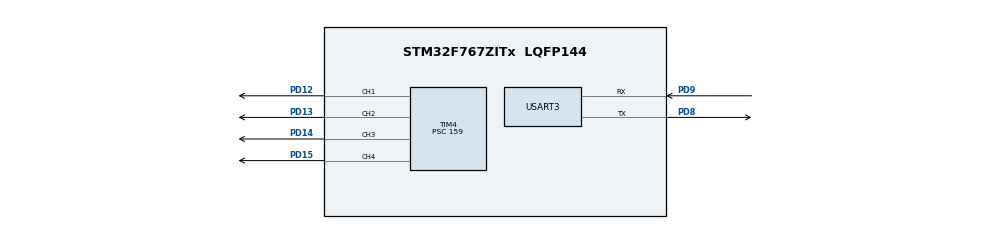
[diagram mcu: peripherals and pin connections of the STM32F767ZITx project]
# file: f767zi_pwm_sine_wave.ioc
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CORTEX_M7.default_mode_Activation=1
Mcu.Family=STM32F7
Mcu.Name=STM32F767ZITx
Mcu.Package=LQFP144
Mcu.UserConstants=SAMPLE_RANGE,1000
NVIC.PriorityGroup=NVIC_PRIORITYGROUP_4
NVIC.TIM4_IRQn=true\:0\:0\:false\:false\:true\:true\:true\:true
PA13.Mode=Serial_Wire
PA13.Signal=SYS_JTMS-SWDIO
PA14.Mode=Serial_Wire
PA14.Signal=SYS_JTCK-SWCLK
PD12.Signal=S_TIM4_CH1
PD13.Signal=S_TIM4_CH2
PD14.Signal=S_TIM4_CH3
PD15.Signal=S_TIM4_CH4
PD8.Mode=Asynchronous
PD8.Signal=USART3_TX
PD9.Mode=Asynchronous
PD9.Signal=USART3_RX
PH0/OSC_IN.Mode=HSE-External-Oscillator
PH0/OSC_IN.Signal=RCC_OSC_IN
PH1/OSC_OUT.Mode=HSE-External-Oscillator
PH1/OSC_OUT.Signal=RCC_OSC_OUT
ProjectManager.HeapSize=0x200
ProjectManager.StackSize=0x400
ProjectManager.TargetToolchain=STM32CubeIDE
RCC.HSE_VALUE=25000000
RCC.HSI_VALUE=16000000
RCC.LSE_VALUE=32768
RCC.USBFreq_Value=96000000
RCC.VCOOutputFreq_Value=192000000
SH.S_TIM4_CH1.0=TIM4_CH1,PWM Generation1 CH1
SH.S_TIM4_CH2.0=TIM4_CH2,PWM Generation2 CH2
SH.S_TIM4_CH3.0=TIM4_CH3,PWM Generation3 CH3
SH.S_TIM4_CH4.0=TIM4_CH4,PWM Generation4 CH4
TIM4.Channel-PWM\ Generation1\ CH1=TIM_CHANNEL_1
TIM4.Channel-PWM\ Generation2\ CH2=TIM_CHANNEL_2
TIM4.Channel-PWM\ Generation3\ CH3=TIM_CHANNEL_3
TIM4.Channel-PWM\ Generation4\ CH4=TIM_CHANNEL_4
TIM4.Period=SAMPLE_RANGE-1
TIM4.Prescaler=159
USART3.VirtualMode-Asynchronous=VM_ASYNC
VP_TIM4_VS_ClockSourceINT.Mode=Internal
board=custom

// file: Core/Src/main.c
/* USER CODE BEGIN Header */
/**
 ******************************************************************************
 * @file           : main.c
 * @brief          : Main program body
 ******************************************************************************
 * @attention
 *
 * Copyright (c) 2025 STMicroelectronics.
 * All rights reserved.
 *
 * This software is licensed under terms that can be found in the LICENSE file
 * in the root directory of this software component.
 * If no LICENSE file comes with this software, it is provided AS-IS.
 *
 ******************************************************************************
 */
/* USER CODE END Header */
#include "main.h"

/* USER CODE BEGIN Includes */
#include <stdio.h>
#include <stdbool.h>
#include <math.h>
/* USER CODE END Includes */

/* USER CODE BEGIN PD */
// define some macros
#define SAMPLE_DELAY 10 //ms
#define SAMPLE_FREQ (1000/SAMPLE_DELAY) //hz
#define SAMPLE_MID (SAMPLE_RANGE/2)

/* USER CODE END PD */

TIM_HandleTypeDef htim4;

UART_HandleTypeDef huart3;

/* USER CODE BEGIN PV */
uint32_t callback_counter = 0;
uint32_t led_channels[] = {
TIM_CHANNEL_1,
TIM_CHANNEL_2,
TIM_CHANNEL_3,
TIM_CHANNEL_4 };

float angles[] = { 0, 0, 0, 0 };

float angle_changes[] = { 1 * (2 * M_PI / SAMPLE_FREQ), 2 * (2 * M_PI / SAMPLE_FREQ), 0.5 * (2 * M_PI / SAMPLE_FREQ), 0.25 * (2 * M_PI / SAMPLE_FREQ), };

/* USER CODE END PV */

void SystemClock_Config(void);
static void MPU_Config(void);
static void MX_GPIO_Init(void);
static void MX_USART3_UART_Init(void);
static void MX_TIM4_Init(void);

/* USER CODE BEGIN 0 */

/* redirect printf to uart3
 fd == file descriptor. 1 = stdout, 2 stderr
 ptr == pointer to the data being sent
 len == length of the data (in bytes)
 */
int _write(int fd, char *ptr, int len) {
	HAL_StatusTypeDef hstatus;

	if (fd == 1 || fd == 2) {
		hstatus = HAL_UART_Transmit(&huart3, (uint8_t*) ptr, len, HAL_MAX_DELAY);
		if (hstatus == HAL_OK)
			return len;
		else
			return -1;
	}
	return -1;
}

inline void HAL_TIM_PWM_PulseFinishedCallback(TIM_HandleTypeDef *htim) {
	if (htim->Instance == TIM4) {
		for (int i = 0; i < sizeof(angles) / sizeof(angles[0]); i++) {
			angles[i] += angle_changes[i];
			if (angles[i] >= 2 * M_PI) {
				angles[i] -= (2 * M_PI);
			}
			uint32_t pwm_value = SAMPLE_MID - (SAMPLE_MID * sin(angles[i]));
			__HAL_TIM_SET_COMPARE(&htim4, led_channels[i], pwm_value);
		}
		callback_counter++;
	}
}
/* USER CODE END 0 */

int main(void) {

	/* MPU Configuration--------------------------------------------------------*/
	MPU_Config();

	/* MCU Configuration--------------------------------------------------------*/

	/* Reset of all peripherals, Initializes the Flash interface and the Systick. */
	HAL_Init();

	/* Configure the system clock */
	SystemClock_Config();

	/* Initialize all configured peripherals */
	MX_GPIO_Init();
	MX_USART3_UART_Init();
	MX_TIM4_Init();
	/* USER CODE BEGIN 2 */
	HAL_TIM_PWM_Start_IT(&htim4, TIM_CHANNEL_1);
	HAL_TIM_PWM_Start(&htim4, TIM_CHANNEL_2);
	HAL_TIM_PWM_Start(&htim4, TIM_CHANNEL_3);
	HAL_TIM_PWM_Start(&htim4, TIM_CHANNEL_4);
	printf("Starting PWM sine wave code...\r\n");
	/* USER CODE END 2 */

	/* Infinite loop */
	/* USER CODE BEGIN WHILE */
	uint32_t now = 0, next_tick = 1000, loop_count = 0, next_sample = SAMPLE_DELAY;
	while (1) {
		now = uwTick;
		if (now >= next_tick) {
			printf("Tick %lu (loop = %lu). Callback counter %lu\r\n", now / 1000, loop_count, callback_counter);
			loop_count = 0;
			next_tick = now + 1000;
		}
		++loop_count;

//	  if (now>= next_change){
//		  __HAL_TIM_SET_COMPARE(&htim4,TIM_CHANNEL_1,pwm_value);
//		  __HAL_TIM_SET_COMPARE(&htim4,TIM_CHANNEL_2,1000-pwm_value);
//		  __HAL_TIM_SET_COMPARE(&htim4,TIM_CHANNEL_3,pwm_value);
//		  __HAL_TIM_SET_COMPARE(&htim4,TIM_CHANNEL_4,1000-pwm_value);
//		  pwm_value += pwm_change;
//		  if (pwm_value==0) pwm_change =1;
//		  if (pwm_value==1000) pwm_change =-1;
//		  next_change=now+1;
//	  }
	}
	/* USER CODE END WHILE */

}

void SystemClock_Config(void) {
	RCC_OscInitTypeDef RCC_OscInitStruct = { 0 };
	RCC_ClkInitTypeDef RCC_ClkInitStruct = { 0 };

	/** Configure the main internal regulator output voltage
	 */
	__HAL_RCC_PWR_CLK_ENABLE();
	__HAL_PWR_VOLTAGESCALING_CONFIG(PWR_REGULATOR_VOLTAGE_SCALE3);

	/** Initializes the RCC Oscillators according to the specified parameters
	 * in the RCC_OscInitTypeDef structure.
	 */
	RCC_OscInitStruct.OscillatorType = RCC_OSCILLATORTYPE_HSI;
	RCC_OscInitStruct.HSIState = RCC_HSI_ON;
	RCC_OscInitStruct.HSICalibrationValue = RCC_HSICALIBRATION_DEFAULT;
	RCC_OscInitStruct.PLL.PLLState = RCC_PLL_NONE;
	if (HAL_RCC_OscConfig(&RCC_OscInitStruct) != HAL_OK) {
		Error_Handler();
	}

	/** Initializes the CPU, AHB and APB buses clocks
	 */
	RCC_ClkInitStruct.ClockType = RCC_CLOCKTYPE_HCLK | RCC_CLOCKTYPE_SYSCLK | RCC_CLOCKTYPE_PCLK1 | RCC_CLOCKTYPE_PCLK2;
	RCC_ClkInitStruct.SYSCLKSource = RCC_SYSCLKSOURCE_HSI;
	RCC_ClkInitStruct.AHBCLKDivider = RCC_SYSCLK_DIV1;
	RCC_ClkInitStruct.APB1CLKDivider = RCC_HCLK_DIV1;
	RCC_ClkInitStruct.APB2CLKDivider = RCC_HCLK_DIV1;

	if (HAL_RCC_ClockConfig(&RCC_ClkInitStruct, FLASH_LATENCY_0) != HAL_OK) {
		Error_Handler();
	}
}

static void MX_TIM4_Init(void) {

	TIM_ClockConfigTypeDef sClockSourceConfig = { 0 };
	TIM_MasterConfigTypeDef sMasterConfig = { 0 };
	TIM_OC_InitTypeDef sConfigOC = { 0 };

	htim4.Instance = TIM4;
	htim4.Init.Prescaler = 159;
	htim4.Init.CounterMode = TIM_COUNTERMODE_UP;
	htim4.Init.Period = SAMPLE_RANGE - 1;
	htim4.Init.ClockDivision = TIM_CLOCKDIVISION_DIV1;
	htim4.Init.AutoReloadPreload = TIM_AUTORELOAD_PRELOAD_DISABLE;
	if (HAL_TIM_Base_Init(&htim4) != HAL_OK) {
		Error_Handler();
	}
	sClockSourceConfig.ClockSource = TIM_CLOCKSOURCE_INTERNAL;
	if (HAL_TIM_ConfigClockSource(&htim4, &sClockSourceConfig) != HAL_OK) {
		Error_Handler();
	}
	if (HAL_TIM_PWM_Init(&htim4) != HAL_OK) {
		Error_Handler();
	}
	sMasterConfig.MasterOutputTrigger = TIM_TRGO_RESET;
	sMasterConfig.MasterSlaveMode = TIM_MASTERSLAVEMODE_DISABLE;
	if (HAL_TIMEx_MasterConfigSynchronization(&htim4, &sMasterConfig) != HAL_OK) {
		Error_Handler();
	}
	sConfigOC.OCMode = TIM_OCMODE_PWM1;
	sConfigOC.Pulse = 0;
	sConfigOC.OCPolarity = TIM_OCPOLARITY_HIGH;
	sConfigOC.OCFastMode = TIM_OCFAST_DISABLE;
	if (HAL_TIM_PWM_ConfigChannel(&htim4, &sConfigOC, TIM_CHANNEL_1) != HAL_OK) {
		Error_Handler();
	}
	if (HAL_TIM_PWM_ConfigChannel(&htim4, &sConfigOC, TIM_CHANNEL_2) != HAL_OK) {
		Error_Handler();
	}
	if (HAL_TIM_PWM_ConfigChannel(&htim4, &sConfigOC, TIM_CHANNEL_3) != HAL_OK) {
		Error_Handler();
	}
	if (HAL_TIM_PWM_ConfigChannel(&htim4, &sConfigOC, TIM_CHANNEL_4) != HAL_OK) {
		Error_Handler();
	}
	HAL_TIM_MspPostInit(&htim4);

}

static void MX_USART3_UART_Init(void) {

	huart3.Instance = USART3;
	huart3.Init.BaudRate = 115200;
	huart3.Init.WordLength = UART_WORDLENGTH_8B;
	huart3.Init.StopBits = UART_STOPBITS_1;
	huart3.Init.Parity = UART_PARITY_NONE;
	huart3.Init.Mode = UART_MODE_TX_RX;
	huart3.Init.HwFlowCtl = UART_HWCONTROL_NONE;
	huart3.Init.OverSampling = UART_OVERSAMPLING_16;
	huart3.Init.OneBitSampling = UART_ONE_BIT_SAMPLE_DISABLE;
	huart3.AdvancedInit.AdvFeatureInit = UART_ADVFEATURE_NO_INIT;
	if (HAL_UART_Init(&huart3) != HAL_OK) {
		Error_Handler();
	}

}

static void MX_GPIO_Init(void) {

	/* GPIO Ports Clock Enable */
	__HAL_RCC_GPIOH_CLK_ENABLE();
	__HAL_RCC_GPIOD_CLK_ENABLE();
	__HAL_RCC_GPIOA_CLK_ENABLE();

}

/* MPU Configuration */

void MPU_Config(void) {
	MPU_Region_InitTypeDef MPU_InitStruct = { 0 };

	/* Disables the MPU */
	HAL_MPU_Disable();

	/** Initializes and configures the Region and the memory to be protected
	 */
	MPU_InitStruct.Enable = MPU_REGION_ENABLE;
	MPU_InitStruct.Number = MPU_REGION_NUMBER0;
	MPU_InitStruct.BaseAddress = 0x0;
	MPU_InitStruct.Size = MPU_REGION_SIZE_4GB;
	MPU_InitStruct.SubRegionDisable = 0x87;
	MPU_InitStruct.TypeExtField = MPU_TEX_LEVEL0;
	MPU_InitStruct.AccessPermission = MPU_REGION_NO_ACCESS;
	MPU_InitStruct.DisableExec = MPU_INSTRUCTION_ACCESS_DISABLE;
	MPU_InitStruct.IsShareable = MPU_ACCESS_SHAREABLE;
	MPU_InitStruct.IsCacheable = MPU_ACCESS_NOT_CACHEABLE;
	MPU_InitStruct.IsBufferable = MPU_ACCESS_NOT_BUFFERABLE;

	HAL_MPU_ConfigRegion(&MPU_InitStruct);
	/* Enables the MPU */
	HAL_MPU_Enable(MPU_PRIVILEGED_DEFAULT);

}

void Error_Handler(void) {
	__disable_irq();
	while (1) {
	}
}
